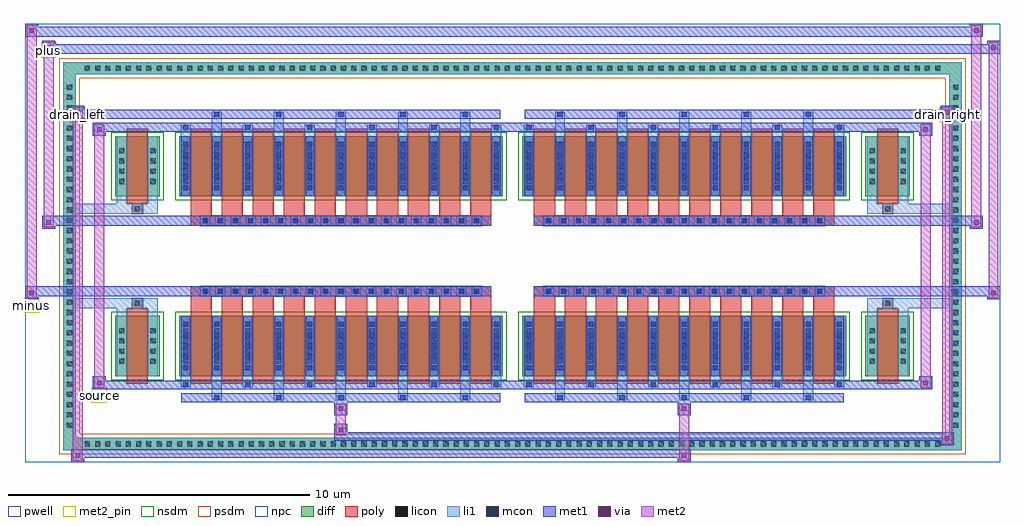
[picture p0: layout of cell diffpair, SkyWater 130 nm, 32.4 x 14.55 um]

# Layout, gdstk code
import gdstk
lib = gdstk.Library(unit=1e-6, precision=5e-09)
def R(c, l, rs):  # rectangles x0, y0, x1, y1
    for r in rs: c.add(gdstk.rectangle(r[:2], r[2:], *l))
def A(c, l, x, y, w, h, nx, ny, dx, dy):  # array of equal rectangles
    R(c, l, [(x+i*dx, y+j*dy, x+i*dx+w, y+j*dy+h) for i in range(nx) for j in range(ny)])
def P(c, l, *ps):  # polygons
    for p in ps: c.add(gdstk.Polygon(p, *l))
pwell = (64, 44)
diff = (65, 20)
poly = (66, 20)
licon = (66, 44)
li1 = (67, 20)
mcon = (67, 44)
met1 = (68, 20)
via = (68, 44)
met2_pin = (69, 16)
met2 = (69, 20)
nsdm = (93, 44)
psdm = (94, 20)
npc = (95, 20)

diffpair = lib.new_cell('diffpair')
R(diffpair, pwell, [(-16.18,-6.84,16.18,7.71), (-13.5,-5.03,-0.01,-0.805), (0.01,-5.03,13.5,-0.805), (-13.5,0.805,-0.01,5.03), (0.01,0.805,13.5,5.03)])
A(diffpair, diff, -14.315, -6.44, 0.41, 0.41, 84, 2, 0.34, 12.47)
A(diffpair, diff, -14.91, -5.815, 0.41, 0.41, 1, 34, 0, 0.34)
A(diffpair, diff, 14.5, -5.815, 0.41, 0.41, 1, 34, 0, 0.34)
R(diffpair, diff, [(-14.315,-6.44,14.315,-6.03), (-14.91,-5.815,-14.5,5.815), (14.5,-5.815,14.91,5.815), (-13.19,-3.985,-11.71,-1.985), (-11.07,-3.985,-0.32,-1.985), (0.32,-3.985,11.07,-1.985), (11.71,-3.985,13.19,-1.985), (-13.19,1.985,-11.71,3.985), (-11.07,1.985,-0.32,3.985), (0.32,1.985,11.07,3.985), (11.71,1.985,13.19,3.985), (-14.315,6.03,14.315,6.44)])
P(diffpair, diff, [(14.91,6.44),(-14.91,6.44),(-14.91,-6.03),(-14.5,-6.03),(-14.5,6.03),(14.5,6.03),(14.5,-6.03),(-14.5,-6.03),(-14.91,-6.03),(-14.91,-6.44),(14.91,-6.44)])
A(diffpair, poly, -10.68, -4.235, 0.7, 2.5, 10, 2, 1.03, 5.97)
A(diffpair, poly, 0.71, -4.235, 0.7, 2.5, 10, 2, 1.03, 5.97)
A(diffpair, poly, -10.68, -1.735, 0.7, 0.4, 10, 2, 1.03, 3.07)
A(diffpair, poly, 0.71, -1.735, 0.7, 0.4, 10, 2, 1.03, 3.07)
A(diffpair, poly, -10.36, -1.335, 0.33, 0.33, 19, 2, 0.5, 2.34)
A(diffpair, poly, 1.03, -1.335, 0.33, 0.33, 19, 2, 0.5, 2.34)
R(diffpair, poly, [(-12.8,-4.235,-12.1,-1.735), (12.1,-4.235,12.8,-1.735), (-12.615,-1.735,-12.285,-1.405), (-12.615,-1.735,-12.285,-1.405), (12.285,-1.735,12.615,-1.405), (12.285,-1.735,12.615,-1.405), (-10.68,-1.335,-0.71,-1.005), (0.71,-1.335,10.68,-1.005), (-10.68,1.005,-0.71,1.335), (0.71,1.005,10.68,1.335), (-12.615,1.405,-12.285,1.735), (-12.615,1.405,-12.285,1.735), (12.285,1.405,12.615,1.735), (12.285,1.405,12.615,1.735), (-12.8,1.735,-12.1,4.235), (12.1,1.735,12.8,4.235)])
A(diffpair, licon, -14.195, -6.32, 0.17, 0.17, 84, 2, 0.34, 12.47)
A(diffpair, licon, -14.79, -5.695, 0.17, 0.17, 1, 34, 0, 0.34)
A(diffpair, licon, 14.62, -5.695, 0.17, 0.17, 1, 34, 0, 0.34)
A(diffpair, licon, -13.05, -3.58, 0.17, 0.17, 1, 4, 0, 0.34)
A(diffpair, licon, -12.02, -3.58, 0.17, 0.17, 1, 4, 0, 0.34)
A(diffpair, licon, -10.93, -3.58, 0.17, 0.17, 11, 4, 1.03, 0.34)
A(diffpair, licon, 0.46, -3.58, 0.17, 0.17, 11, 4, 1.03, 0.34)
A(diffpair, licon, 11.85, -3.58, 0.17, 0.17, 1, 4, 0, 0.34)
A(diffpair, licon, 12.88, -3.58, 0.17, 0.17, 1, 4, 0, 0.34)
A(diffpair, licon, -10.28, -1.255, 0.17, 0.17, 19, 2, 0.5, 2.34)
A(diffpair, licon, 1.11, -1.255, 0.17, 0.17, 19, 2, 0.5, 2.34)
A(diffpair, licon, -13.05, 2.39, 0.17, 0.17, 1, 4, 0, 0.34)
A(diffpair, licon, -12.02, 2.39, 0.17, 0.17, 1, 4, 0, 0.34)
A(diffpair, licon, -10.93, 2.39, 0.17, 0.17, 11, 4, 1.03, 0.34)
A(diffpair, licon, 0.46, 2.39, 0.17, 0.17, 11, 4, 1.03, 0.34)
A(diffpair, licon, 11.85, 2.39, 0.17, 0.17, 1, 4, 0, 0.34)
A(diffpair, licon, 12.88, 2.39, 0.17, 0.17, 1, 4, 0, 0.34)
R(diffpair, licon, [(-12.535,-1.655,-12.365,-1.485), (12.365,-1.655,12.535,-1.485), (-12.535,1.485,-12.365,1.655), (12.365,1.485,12.535,1.655)])
A(diffpair, li1, -14.275, -6.4, 0.33, 0.33, 84, 2, 0.34, 12.47)
A(diffpair, li1, -14.87, -5.775, 0.33, 0.33, 1, 34, 0, 0.34)
A(diffpair, li1, 14.54, -5.775, 0.33, 0.33, 1, 34, 0, 0.34)
A(diffpair, li1, -9.98, -4.79, 0.33, 0.805, 5, 2, 2.06, 8.775)
A(diffpair, li1, -9.9, -4.79, 0.17, 0.17, 5, 2, 2.06, 9.41)
A(diffpair, li1, 1.41, -4.79, 0.33, 0.805, 5, 2, 2.06, 8.775)
A(diffpair, li1, 1.49, -4.79, 0.17, 0.17, 5, 2, 2.06, 9.41)
A(diffpair, li1, -11.01, -4.36, 0.33, 0.375, 6, 2, 2.06, 8.345)
A(diffpair, li1, -10.93, -4.36, 0.17, 0.17, 6, 2, 2.06, 8.55)
A(diffpair, li1, 0.38, -4.36, 0.33, 0.375, 6, 2, 2.06, 8.345)
A(diffpair, li1, 0.46, -4.36, 0.17, 0.17, 6, 2, 2.06, 8.55)
A(diffpair, li1, -11.01, -3.985, 0.33, 2, 11, 2, 1.03, 5.97)
A(diffpair, li1, 0.38, -3.985, 0.33, 2, 11, 2, 1.03, 5.97)
A(diffpair, li1, -10.93, -3.79, 0.17, 0.17, 11, 5, 1.03, 0.36)
A(diffpair, li1, -10.93, -3.79, 0.17, 1.61, 11, 2, 1.03, 5.97)
A(diffpair, li1, 0.46, -3.79, 0.17, 0.17, 11, 5, 1.03, 0.36)
A(diffpair, li1, 0.46, -3.79, 0.17, 1.61, 11, 2, 1.03, 5.97)
A(diffpair, li1, -13.13, -3.66, 0.33, 0.33, 1, 4, 0, 0.34)
A(diffpair, li1, -12.1, -3.66, 0.33, 0.33, 1, 4, 0, 0.34)
A(diffpair, li1, -11.01, -3.66, 0.33, 0.33, 11, 4, 1.03, 0.34)
A(diffpair, li1, 0.38, -3.66, 0.33, 0.33, 11, 4, 1.03, 0.34)
A(diffpair, li1, 11.77, -3.66, 0.33, 0.33, 1, 4, 0, 0.34)
A(diffpair, li1, 12.8, -3.66, 0.33, 0.33, 1, 4, 0, 0.34)
A(diffpair, li1, -10.36, -1.335, 0.33, 0.33, 19, 2, 0.5, 2.34)
A(diffpair, li1, 1.03, -1.335, 0.33, 0.33, 19, 2, 0.5, 2.34)
A(diffpair, li1, -10.93, 2.18, 0.17, 0.17, 11, 5, 1.03, 0.36)
A(diffpair, li1, 0.46, 2.18, 0.17, 0.17, 11, 5, 1.03, 0.36)
A(diffpair, li1, -13.13, 2.31, 0.33, 0.33, 1, 4, 0, 0.34)
A(diffpair, li1, -12.1, 2.31, 0.33, 0.33, 1, 4, 0, 0.34)
A(diffpair, li1, -11.01, 2.31, 0.33, 0.33, 11, 4, 1.03, 0.34)
A(diffpair, li1, 0.38, 2.31, 0.33, 0.33, 11, 4, 1.03, 0.34)
A(diffpair, li1, 11.77, 2.31, 0.33, 0.33, 1, 4, 0, 0.34)
A(diffpair, li1, 12.8, 2.31, 0.33, 0.33, 1, 4, 0, 0.34)
R(diffpair, li1, [(-14.91,-6.44,-14.5,-6.03), (-14.91,-6.44,-14.5,-6.03), (-14.5,-6.44,14.5,-6.03), (14.5,-6.44,14.91,-6.03), (14.5,-6.44,14.91,-6.03), (-14.91,-6.03,-14.5,6.03), (14.5,-6.03,14.91,6.03), (-13.13,-3.985,-12.8,-1.985), (-12.1,-3.985,-11.77,-1.985), (11.77,-3.985,12.1,-1.985), (12.8,-3.985,13.13,-1.985), (-13.13,-1.985,-12.8,-1.405), (-12.1,-1.985,-11.77,-1.405), (11.77,-1.985,12.1,-1.405), (12.8,-1.985,13.13,-1.405), (-14.91,-1.735,-12.615,-1.405), (-13.13,-1.735,-12.615,-1.405), (-12.615,-1.735,-12.285,-1.405), (-12.285,-1.735,-11.77,-1.405), (11.77,-1.735,12.285,-1.405), (12.285,-1.735,12.615,-1.405), (12.285,-1.735,14.91,-1.405), (12.615,-1.735,13.13,-1.405), (-14.91,1.405,-12.615,1.735), (-13.13,1.405,-12.615,1.735), (-13.13,1.405,-12.8,1.985), (-12.615,1.405,-12.285,1.735), (-12.285,1.405,-11.77,1.735), (-12.1,1.405,-11.77,1.985), (11.77,1.405,12.285,1.735), (11.77,1.405,12.1,1.985), (12.285,1.405,12.615,1.735), (12.285,1.405,14.91,1.735), (12.615,1.405,13.13,1.735), (12.8,1.405,13.13,1.985), (-13.13,1.985,-12.8,3.985), (-12.1,1.985,-11.77,3.985), (11.77,1.985,12.1,3.985), (12.8,1.985,13.13,3.985), (-14.91,6.03,-14.5,6.44), (-14.91,6.03,-14.5,6.44), (-14.5,6.03,14.5,6.44), (14.5,6.03,14.91,6.44), (14.5,6.03,14.91,6.44)])
A(diffpair, mcon, -9.9, -4.79, 0.17, 0.17, 5, 2, 2.06, 9.41)
A(diffpair, mcon, 1.49, -4.79, 0.17, 0.17, 5, 2, 2.06, 9.41)
A(diffpair, mcon, -10.93, -4.36, 0.17, 0.17, 6, 2, 2.06, 8.55)
A(diffpair, mcon, 0.46, -4.36, 0.17, 0.17, 6, 2, 2.06, 8.55)
A(diffpair, mcon, -10.93, -3.79, 0.17, 0.17, 11, 5, 1.03, 0.36)
A(diffpair, mcon, 0.46, -3.79, 0.17, 0.17, 11, 5, 1.03, 0.36)
A(diffpair, mcon, -10.28, -1.255, 0.17, 0.17, 19, 2, 0.5, 2.34)
A(diffpair, mcon, 1.11, -1.255, 0.17, 0.17, 19, 2, 0.5, 2.34)
A(diffpair, mcon, -10.93, 2.18, 0.17, 0.17, 11, 5, 1.03, 0.36)
A(diffpair, mcon, 0.46, 2.18, 0.17, 0.17, 11, 5, 1.03, 0.36)
A(diffpair, met1, -9.96, -4.85, 0.29, 0.29, 5, 2, 2.06, 9.41)
A(diffpair, met1, 1.43, -4.85, 0.29, 0.29, 5, 2, 2.06, 9.41)
A(diffpair, met1, -10.99, -4.42, 0.29, 0.29, 6, 2, 2.06, 8.55)
A(diffpair, met1, 0.4, -4.42, 0.29, 0.29, 6, 2, 2.06, 8.55)
A(diffpair, met1, -10.99, -3.985, 0.29, 2, 11, 2, 1.03, 5.97)
A(diffpair, met1, 0.4, -3.985, 0.29, 2, 11, 2, 1.03, 5.97)
A(diffpair, met1, -10.99, -3.85, 0.29, 0.29, 11, 5, 1.03, 0.36)
A(diffpair, met1, 0.4, -3.85, 0.29, 0.29, 11, 5, 1.03, 0.36)
A(diffpair, met1, -10.34, -1.315, 0.29, 0.29, 19, 2, 0.5, 2.34)
A(diffpair, met1, 1.05, -1.315, 0.29, 0.29, 19, 2, 0.5, 2.34)
A(diffpair, met1, -10.99, 2.12, 0.29, 0.29, 11, 5, 1.03, 0.36)
A(diffpair, met1, 0.4, 2.12, 0.29, 0.29, 11, 5, 1.03, 0.36)
R(diffpair, met1, [(-14.64,-6.84,-14.21,-6.41), (5.48,-6.84,5.91,-6.41), (-14.64,-6.7,5.91,-6.41), (14.21,-6.27,14.64,-5.84), (-5.91,-6.13,14.64,-5.84), (-5.91,-5.99,-5.48,-5.56), (-5.91,-5.28,-5.48,-4.85), (5.48,-5.28,5.91,-4.85), (-10.99,-4.85,-0.4,-4.56), (0.4,-4.85,10.99,-4.56), (-13.93,-4.42,-13.5,-3.99), (-13.93,-4.42,-10.99,-4.13), (-10.99,-4.42,-0.4,-4.13), (-0.4,-4.42,0.4,-4.13), (0.4,-4.42,10.99,-4.13), (10.99,-4.42,13.93,-4.13), (13.5,-4.42,13.93,-3.99), (-16.18,-1.435,-15.75,-1.005), (15.75,-1.435,16.18,-1.005), (-16.18,-1.335,-0.71,-1.005), (-10.68,-1.335,-0.71,-1.005), (0.71,-1.335,10.68,-1.005), (0.71,-1.335,16.18,-1.005), (-15.61,0.905,-15.18,1.335), (15.18,0.905,15.61,1.335), (-15.61,1.005,-10.68,1.335), (-10.68,1.005,-0.71,1.335), (0.71,1.005,10.68,1.335), (10.68,1.005,15.61,1.335), (-13.93,3.99,-13.5,4.42), (13.5,3.99,13.93,4.42), (-13.93,4.13,-10.99,4.42), (-10.99,4.13,-0.4,4.42), (-0.4,4.13,0.4,4.42), (0.4,4.13,10.99,4.42), (10.99,4.13,13.93,4.42), (-14.64,4.56,-14.21,4.99), (-14.64,4.56,-10.99,4.85), (-10.99,4.56,-0.4,4.85), (0.4,4.56,10.99,4.85), (10.99,4.56,14.64,4.85), (14.21,4.56,14.64,4.99), (-15.61,6.71,-15.18,7.14), (-15.61,6.71,-13.5,7.04), (-13.5,6.71,13.5,7.04), (13.5,6.71,16.18,7.04), (15.75,6.71,16.18,7.14), (-16.18,7.28,-15.75,7.71), (-16.18,7.28,-13.5,7.61), (-13.5,7.28,13.5,7.61), (13.5,7.28,15.61,7.61), (15.18,7.28,15.61,7.71)])
R(diffpair, via, [(-14.5,-6.7,-14.35,-6.55), (5.62,-6.7,5.77,-6.55), (14.35,-6.13,14.5,-5.98), (-5.77,-5.85,-5.62,-5.7), (-5.77,-5.14,-5.62,-4.99), (5.62,-5.14,5.77,-4.99), (-13.79,-4.28,-13.64,-4.13), (13.64,-4.28,13.79,-4.13), (-16.04,-1.295,-15.89,-1.145), (15.89,-1.295,16.04,-1.145), (-15.47,1.045,-15.32,1.195), (15.32,1.045,15.47,1.195), (-13.79,4.13,-13.64,4.28), (13.64,4.13,13.79,4.28), (-14.5,4.7,-14.35,4.85), (14.35,4.7,14.5,4.85), (-15.47,6.85,-15.32,7), (15.89,6.85,16.04,7), (-16.04,7.42,-15.89,7.57), (15.32,7.42,15.47,7.57)])
R(diffpair, met2_pin, [(-13.965,-4.87,-13.465,-4.37), (-16.215,-1.885,-15.715,-1.385), (-14.675,4.44,-14.175,4.94), (14.175,4.44,14.675,4.94), (-15.645,6.59,-15.145,7.09)])
R(diffpair, met2, [(-14.59,-6.79,-14.26,-6.46), (-14.59,-6.79,-14.26,4.94), (5.53,-6.79,5.86,-6.46), (5.53,-6.46,5.86,-5.23), (14.26,-6.22,14.59,-5.89), (14.26,-6.22,14.59,4.94), (-5.86,-5.94,-5.53,-5.61), (-5.86,-5.61,-5.53,-5.23), (-5.86,-5.23,-5.53,-4.9), (5.53,-5.23,5.86,-4.9), (-13.88,-4.37,-13.55,-4.04), (-13.88,-4.37,-13.55,4.37), (13.55,-4.37,13.88,-4.04), (13.55,-4.37,13.88,4.37), (-16.13,-1.385,-15.8,-1.055), (-16.13,-1.385,-15.8,7.66), (15.8,-1.385,16.13,-1.055), (15.8,-1.385,16.13,7.09), (-15.56,0.955,-15.23,1.285), (-15.56,0.955,-15.23,7.09), (15.23,0.955,15.56,1.285), (15.23,0.955,15.56,7.66), (-13.88,4.04,-13.55,4.37), (13.55,4.04,13.88,4.37), (-14.59,4.61,-14.26,4.94), (14.26,4.61,14.59,4.94), (-15.56,6.76,-15.23,7.09), (15.8,6.76,16.13,7.09), (-16.13,7.33,-15.8,7.66), (15.23,7.33,15.56,7.66)])
P(diffpair, met2, [(16.13,-1.385),(16.13,-1.385),(16.13,-1.055),(16.13,-1.055)],
  [(16.13,6.76),(16.13,6.76),(16.13,7.09),(16.13,7.09)],
  [(-15.8,-1.385),(-15.8,-1.385),(-15.8,-1.055),(-15.8,-1.055)],
  [(-15.8,7.33),(-15.8,7.33),(-15.8,7.66),(-15.8,7.66)],
  [(15.56,0.955),(15.56,0.955),(15.56,1.285),(15.56,1.285)],
  [(15.56,7.33),(15.56,7.33),(15.56,7.66),(15.56,7.66)],
  [(-15.23,0.955),(-15.23,0.955),(-15.23,1.285),(-15.23,1.285)],
  [(-15.23,6.76),(-15.23,6.76),(-15.23,7.09),(-15.23,7.09)],
  [(-14.26,-6.79),(-14.26,-6.79),(-14.26,-6.46),(-14.26,-6.46)],
  [(-14.26,4.61),(-14.26,4.61),(-14.26,4.94),(-14.26,4.94)],
  [(14.59,-6.22),(14.59,-6.22),(14.59,-5.89),(14.59,-5.89)],
  [(14.59,4.61),(14.59,4.61),(14.59,4.94),(14.59,4.94)],
  [(-13.55,-4.37),(-13.55,-4.37),(-13.55,-4.04),(-13.55,-4.04)],
  [(-13.55,4.04),(-13.55,4.04),(-13.55,4.37),(-13.55,4.37)],
  [(13.88,-4.37),(13.88,-4.37),(13.88,-4.04),(13.88,-4.04)],
  [(13.88,4.04),(13.88,4.04),(13.88,4.37),(13.88,4.37)])
R(diffpair, nsdm, [(-13.32,-4.115,-11.58,-1.855), (-11.2,-4.115,-0.19,-1.855), (0.19,-4.115,11.2,-1.855), (11.58,-4.115,13.32,-1.855), (-13.32,1.855,-11.58,4.115), (-11.2,1.855,-0.19,4.115), (0.19,1.855,11.2,4.115), (11.58,1.855,13.32,4.115)])
P(diffpair, psdm, [(15.04,6.57),(-15.04,6.57),(-15.04,-5.9),(-14.37,-5.9),(-14.37,5.9),(14.37,5.9),(14.37,-5.9),(-14.37,-5.9),(-15.04,-5.9),(-15.04,-6.57),(15.04,-6.57)])
A(diffpair, npc, -10.38, -1.355, 0.37, 0.37, 19, 2, 0.5, 2.34)
A(diffpair, npc, 1.01, -1.355, 0.37, 0.37, 19, 2, 0.5, 2.34)
R(diffpair, npc, [(-12.635,-1.755,-12.265,-1.385), (12.265,-1.755,12.635,-1.385), (-10.38,-1.355,-9.51,-0.985), (-10.38,-1.355,-9.51,-0.985), (-9.88,-1.355,-9.01,-0.985), (-9.88,-1.355,-9.01,-0.985), (-9.38,-1.355,-8.51,-0.985), (-9.38,-1.355,-8.51,-0.985), (-8.88,-1.355,-8.01,-0.985), (-8.88,-1.355,-8.01,-0.985), (-8.38,-1.355,-7.51,-0.985), (-8.38,-1.355,-7.51,-0.985), (-7.88,-1.355,-7.01,-0.985), (-7.88,-1.355,-7.01,-0.985), (-7.38,-1.355,-6.51,-0.985), (-7.38,-1.355,-6.51,-0.985), (-6.88,-1.355,-6.01,-0.985), (-6.88,-1.355,-6.01,-0.985), (-6.38,-1.355,-5.51,-0.985), (-6.38,-1.355,-5.51,-0.985), (-5.88,-1.355,-5.01,-0.985), (-5.88,-1.355,-5.01,-0.985), (-5.38,-1.355,-4.51,-0.985), (-5.38,-1.355,-4.51,-0.985), (-4.88,-1.355,-4.01,-0.985), (-4.88,-1.355,-4.01,-0.985), (-4.38,-1.355,-3.51,-0.985), (-4.38,-1.355,-3.51,-0.985), (-3.88,-1.355,-3.01,-0.985), (-3.88,-1.355,-3.01,-0.985), (-3.38,-1.355,-2.51,-0.985), (-3.38,-1.355,-2.51,-0.985), (-2.88,-1.355,-2.01,-0.985), (-2.88,-1.355,-2.01,-0.985), (-2.38,-1.355,-1.51,-0.985), (-2.38,-1.355,-1.51,-0.985), (-1.88,-1.355,-1.01,-0.985), (-1.88,-1.355,-1.01,-0.985), (1.01,-1.355,1.88,-0.985), (1.01,-1.355,1.88,-0.985), (1.51,-1.355,2.38,-0.985), (1.51,-1.355,2.38,-0.985), (2.01,-1.355,2.88,-0.985), (2.01,-1.355,2.88,-0.985), (2.51,-1.355,3.38,-0.985), (2.51,-1.355,3.38,-0.985), (3.01,-1.355,3.88,-0.985), (3.01,-1.355,3.88,-0.985), (3.51,-1.355,4.38,-0.985), (3.51,-1.355,4.38,-0.985), (4.01,-1.355,4.88,-0.985), (4.01,-1.355,4.88,-0.985), (4.51,-1.355,5.38,-0.985), (4.51,-1.355,5.38,-0.985), (5.01,-1.355,5.88,-0.985), (5.01,-1.355,5.88,-0.985), (5.51,-1.355,6.38,-0.985), (5.51,-1.355,6.38,-0.985), (6.01,-1.355,6.88,-0.985), (6.01,-1.355,6.88,-0.985), (6.51,-1.355,7.38,-0.985), (6.51,-1.355,7.38,-0.985), (7.01,-1.355,7.88,-0.985), (7.01,-1.355,7.88,-0.985), (7.51,-1.355,8.38,-0.985), (7.51,-1.355,8.38,-0.985), (8.01,-1.355,8.88,-0.985), (8.01,-1.355,8.88,-0.985), (8.51,-1.355,9.38,-0.985), (8.51,-1.355,9.38,-0.985), (9.01,-1.355,9.88,-0.985), (9.01,-1.355,9.88,-0.985), (9.51,-1.355,10.38,-0.985), (9.51,-1.355,10.38,-0.985), (-10.38,0.985,-9.51,1.355), (-10.38,0.985,-9.51,1.355), (-9.88,0.985,-9.01,1.355), (-9.88,0.985,-9.01,1.355), (-9.38,0.985,-8.51,1.355), (-9.38,0.985,-8.51,1.355), (-8.88,0.985,-8.01,1.355), (-8.88,0.985,-8.01,1.355), (-8.38,0.985,-7.51,1.355), (-8.38,0.985,-7.51,1.355), (-7.88,0.985,-7.01,1.355), (-7.88,0.985,-7.01,1.355), (-7.38,0.985,-6.51,1.355), (-7.38,0.985,-6.51,1.355), (-6.88,0.985,-6.01,1.355), (-6.88,0.985,-6.01,1.355), (-6.38,0.985,-5.51,1.355), (-6.38,0.985,-5.51,1.355), (-5.88,0.985,-5.01,1.355), (-5.88,0.985,-5.01,1.355), (-5.38,0.985,-4.51,1.355), (-5.38,0.985,-4.51,1.355), (-4.88,0.985,-4.01,1.355), (-4.88,0.985,-4.01,1.355), (-4.38,0.985,-3.51,1.355), (-4.38,0.985,-3.51,1.355), (-3.88,0.985,-3.01,1.355), (-3.88,0.985,-3.01,1.355), (-3.38,0.985,-2.51,1.355), (-3.38,0.985,-2.51,1.355), (-2.88,0.985,-2.01,1.355), (-2.88,0.985,-2.01,1.355), (-2.38,0.985,-1.51,1.355), (-2.38,0.985,-1.51,1.355), (-1.88,0.985,-1.01,1.355), (-1.88,0.985,-1.01,1.355), (1.01,0.985,1.88,1.355), (1.01,0.985,1.88,1.355), (1.51,0.985,2.38,1.355), (1.51,0.985,2.38,1.355), (2.01,0.985,2.88,1.355), (2.01,0.985,2.88,1.355), (2.51,0.985,3.38,1.355), (2.51,0.985,3.38,1.355), (3.01,0.985,3.88,1.355), (3.01,0.985,3.88,1.355), (3.51,0.985,4.38,1.355), (3.51,0.985,4.38,1.355), (4.01,0.985,4.88,1.355), (4.01,0.985,4.88,1.355), (4.51,0.985,5.38,1.355), (4.51,0.985,5.38,1.355), (5.01,0.985,5.88,1.355), (5.01,0.985,5.88,1.355), (5.51,0.985,6.38,1.355), (5.51,0.985,6.38,1.355), (6.01,0.985,6.88,1.355), (6.01,0.985,6.88,1.355), (6.51,0.985,7.38,1.355), (6.51,0.985,7.38,1.355), (7.01,0.985,7.88,1.355), (7.01,0.985,7.88,1.355), (7.51,0.985,8.38,1.355), (7.51,0.985,8.38,1.355), (8.01,0.985,8.88,1.355), (8.01,0.985,8.88,1.355), (8.51,0.985,9.38,1.355), (8.51,0.985,9.38,1.355), (9.01,0.985,9.88,1.355), (9.01,0.985,9.88,1.355), (9.51,0.985,10.38,1.355), (9.51,0.985,10.38,1.355), (-12.635,1.385,-12.265,1.755), (12.265,1.385,12.635,1.755)])
diffpair.add(gdstk.Label('minus', (-15.965,-1.635), layer=69, texttype=5))
diffpair.add(gdstk.Label('drain_right', (14.425,4.69), layer=69, texttype=5))
diffpair.add(gdstk.Label('drain_left', (-14.425,4.69), layer=69, texttype=5))
diffpair.add(gdstk.Label('source', (-13.715,-4.62), layer=69, texttype=5))
diffpair.add(gdstk.Label('plus', (-15.395,6.84), layer=69, texttype=5))

lib.write_gds('diffpair.gds')
